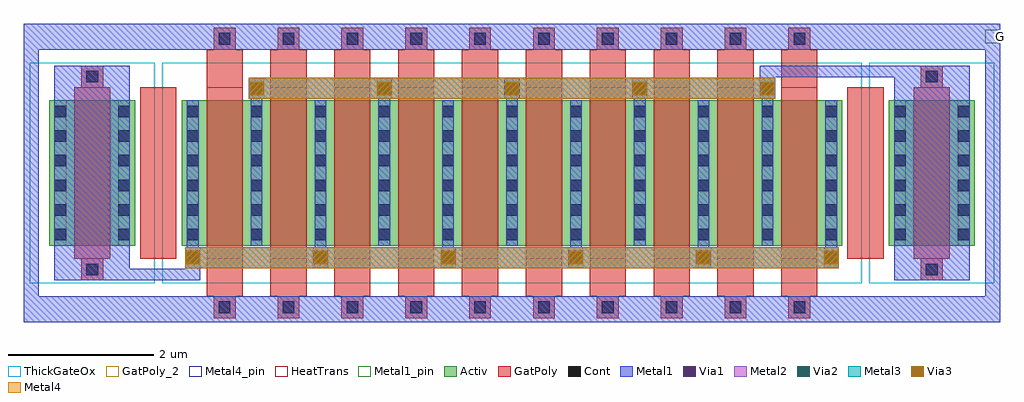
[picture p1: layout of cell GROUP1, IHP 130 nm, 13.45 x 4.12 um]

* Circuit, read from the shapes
.subckt GROUP1 G
XM1 nmosHV_priv1_0/D nmosHV_priv1_0/D nmosHV_priv1_0/D VSUBS sg13_hv_nmos w=2u l=0.5u
XM2 nmosHV_priv1_0/S G nmosHV_priv1_0/D VSUBS sg13_hv_nmos w=2u l=0.5u m=10
XM3 nmosHV_priv1_0/S nmosHV_priv1_0/S nmosHV_priv1_0/S VSUBS sg13_hv_nmos w=2u l=0.5u
.ends

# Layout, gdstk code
import gdstk
lib = gdstk.Library(unit=1e-6, precision=1e-09)
def R(c, l, rs):  # rectangles x0, y0, x1, y1
    for r in rs: c.add(gdstk.rectangle(r[:2], r[2:], *l))
def A(c, l, x, y, w, h, nx, ny, dx, dy):  # array of equal rectangles
    R(c, l, [(x+i*dx, y+j*dy, x+i*dx+w, y+j*dy+h) for i in range(nx) for j in range(ny)])
Activ = (1, 0)
GatPoly = (5, 0)
GatPoly_2 = (5, 2)
Cont = (6, 0)
Metal1 = (8, 0)
Metal1_pin = (8, 2)
Metal2 = (10, 0)
Via1 = (19, 0)
Via2 = (29, 0)
Metal3 = (30, 0)
ThickGateOx = (44, 0)
Via3 = (49, 0)
Metal4 = (50, 0)
Metal4_pin = (50, 2)
HeatTrans = (51, 0)

nmoshv_priv1 = lib.new_cell('nmosHV_priv1')
A(nmoshv_priv1, Activ, 0, 0, 0.3, 0.3, 11, 1, 0.88, 0)
R(nmoshv_priv1, Activ, [(0,0,9.1,2)])
A(nmoshv_priv1, GatPoly, 0.44, -1, 0.3, 0.3, 10, 2, 0.88, 3.7)
A(nmoshv_priv1, GatPoly, 0.34, -0.7, 0.5, 0.52, 10, 2, 0.88, 2.88)
A(nmoshv_priv1, GatPoly, 0.34, -0.18, 0.5, 2.36, 10, 1, 0.88, 0)
R(nmoshv_priv1, GatPoly_2, [(0.34,-0.18,0.84,2.18)])
A(nmoshv_priv1, Cont, 0.51, -0.93, 0.16, 0.16, 10, 2, 0.88, 3.7)
A(nmoshv_priv1, Cont, 0.07, 0.07, 0.16, 0.16, 11, 6, 0.88, 0.34)
A(nmoshv_priv1, Metal1, 0.455, -1.06, 0.27, 0.36, 10, 2, 0.88, 3.76)
A(nmoshv_priv1, Metal1, 0.045, -0.31, 0.21, 0.29, 6, 1, 1.76, 0)
A(nmoshv_priv1, Metal1, 0.07, -0.035, 0.16, 0.05, 6, 1, 1.76, 0)
A(nmoshv_priv1, Metal1, 0.07, 0, 0.16, 2, 11, 1, 0.88, 0)
A(nmoshv_priv1, Metal1, 0.95, 1.985, 0.16, 0.05, 5, 1, 1.76, 0)
A(nmoshv_priv1, Metal1, 0.925, 2.02, 0.21, 0.29, 5, 1, 1.76, 0)
R(nmoshv_priv1, Metal1_pin, [(0.07,0,0.23,2), (0.95,0,1.11,2)])
A(nmoshv_priv1, Metal2, 0.05, -0.31, 0.2, 0.29, 6, 1, 1.76, 0)
A(nmoshv_priv1, Metal2, 0.93, 2.02, 0.2, 0.29, 5, 1, 1.76, 0)
R(nmoshv_priv1, Metal2, [(0.05,-0.31,9.05,-0.02), (0.93,2.02,8.17,2.31)])
A(nmoshv_priv1, Via1, 0.055, -0.26, 0.19, 0.19, 6, 1, 1.76, 0)
A(nmoshv_priv1, Via1, 0.935, 2.07, 0.19, 0.19, 5, 1, 1.76, 0)
A(nmoshv_priv1, Via2, 0.055, -0.26, 0.19, 0.19, 6, 1, 1.76, 0)
A(nmoshv_priv1, Via2, 0.935, 2.07, 0.19, 0.19, 5, 1, 1.76, 0)
A(nmoshv_priv1, Metal3, 0.05, -0.31, 0.2, 0.29, 6, 1, 1.76, 0)
A(nmoshv_priv1, Metal3, 0.93, 2.02, 0.2, 0.29, 5, 1, 1.76, 0)
R(nmoshv_priv1, Metal3, [(0.05,-0.31,9.05,-0.02), (0.93,2.02,8.17,2.31)])
R(nmoshv_priv1, ThickGateOx, [(-0.27,-0.52,9.37,2.52)])
A(nmoshv_priv1, Via3, 0.055, -0.26, 0.19, 0.19, 6, 1, 1.76, 0)
A(nmoshv_priv1, Via3, 0.935, 2.07, 0.19, 0.19, 5, 1, 1.76, 0)
A(nmoshv_priv1, Metal4, 0.05, -0.31, 0.2, 0.29, 6, 1, 1.76, 0)
A(nmoshv_priv1, Metal4, 0.93, 2.02, 0.2, 0.29, 5, 1, 1.76, 0)
R(nmoshv_priv1, Metal4, [(0.05,-0.31,9.05,-0.02), (0.93,2.02,8.17,2.31)])
R(nmoshv_priv1, Metal4_pin, [(8.855,-0.26,9.045,-0.07), (7.975,2.07,8.165,2.26)])
A(nmoshv_priv1, HeatTrans, 0.34, -0.18, 0.5, 2.36, 10, 1, 0.88, 0)
nmoshv_priv1.add(gdstk.Label('nmosHV', (0.59,1), layer=63, texttype=0))
nmoshv_priv1.add(gdstk.Label('nmosHV', (0.59,1), layer=51, texttype=0))
nmoshv_priv1.add(gdstk.Label('nmosHV', (1.47,1), layer=51, texttype=0))
nmoshv_priv1.add(gdstk.Label('nmosHV', (2.35,1), layer=51, texttype=0))
nmoshv_priv1.add(gdstk.Label('nmosHV', (3.23,1), layer=51, texttype=0))
nmoshv_priv1.add(gdstk.Label('nmosHV', (4.11,1), layer=51, texttype=0))
nmoshv_priv1.add(gdstk.Label('nmosHV', (4.99,1), layer=51, texttype=0))
nmoshv_priv1.add(gdstk.Label('nmosHV', (5.87,1), layer=51, texttype=0))
nmoshv_priv1.add(gdstk.Label('nmosHV', (6.75,1), layer=51, texttype=0))
nmoshv_priv1.add(gdstk.Label('nmosHV', (7.63,1), layer=51, texttype=0))
nmoshv_priv1.add(gdstk.Label('nmosHV', (8.51,1), layer=51, texttype=0))
nmoshv_priv1.add(gdstk.Label('S', (8.07,2.165), layer=50, texttype=0))
nmoshv_priv1.add(gdstk.Label('D', (8.95,-0.165), layer=50, texttype=0))

nmoshv_1_priv1 = lib.new_cell('nmosHV$1_priv1')
R(nmoshv_1_priv1, Activ, [(0,0,0.3,0.3), (0,0,1.18,2), (0.88,0,1.18,0.3)])
R(nmoshv_1_priv1, GatPoly, [(0.44,-0.48,0.74,-0.18), (0.34,-0.18,0.84,2.18), (0.44,2.18,0.74,2.48)])
R(nmoshv_1_priv1, GatPoly_2, [(0.34,-0.18,0.84,2.18)])
A(nmoshv_1_priv1, Cont, 0.07, 0.07, 0.16, 0.16, 1, 6, 0, 0.34)
A(nmoshv_1_priv1, Cont, 0.95, 0.07, 0.16, 0.16, 1, 6, 0, 0.34)
R(nmoshv_1_priv1, Cont, [(0.51,-0.41,0.67,-0.25), (0.51,2.25,0.67,2.41)])
R(nmoshv_1_priv1, Metal1, [(0.07,-0.48,1.11,2.48), (0.07,0,0.23,2), (0.95,0,1.11,2)])
R(nmoshv_1_priv1, Metal1_pin, [(0.07,0,0.23,2), (0.95,0,1.11,2)])
R(nmoshv_1_priv1, ThickGateOx, [(-0.27,-0.52,1.45,2.52)])
R(nmoshv_1_priv1, HeatTrans, [(0.34,-0.18,0.84,2.18)])
nmoshv_1_priv1.add(gdstk.Label('nmosHV', (0.59,1), layer=63, texttype=0))
nmoshv_1_priv1.add(gdstk.Label('nmosHV', (0.59,1), layer=51, texttype=0))

nmoshv_1_priv2 = lib.new_cell('nmosHV$1_priv2')
R(nmoshv_1_priv2, Activ, [(0,0,0.3,0.3), (0,0,1.18,2), (0.88,0,1.18,0.3)])
R(nmoshv_1_priv2, GatPoly, [(0.44,-0.48,0.74,-0.18), (0.34,-0.18,0.84,2.18), (0.44,2.18,0.74,2.48)])
R(nmoshv_1_priv2, GatPoly_2, [(0.34,-0.18,0.84,2.18)])
A(nmoshv_1_priv2, Cont, 0.07, 0.07, 0.16, 0.16, 1, 6, 0, 0.34)
A(nmoshv_1_priv2, Cont, 0.95, 0.07, 0.16, 0.16, 1, 6, 0, 0.34)
R(nmoshv_1_priv2, Cont, [(0.51,-0.41,0.67,-0.25), (0.51,2.25,0.67,2.41)])
R(nmoshv_1_priv2, Metal1, [(0.07,-0.48,1.11,2.48), (0.07,0,0.23,2), (0.95,0,1.11,2)])
R(nmoshv_1_priv2, Metal1_pin, [(0.07,0,0.23,2), (0.95,0,1.11,2)])
R(nmoshv_1_priv2, ThickGateOx, [(-0.27,-0.52,1.45,2.52)])
R(nmoshv_1_priv2, HeatTrans, [(0.34,-0.18,0.84,2.18)])
nmoshv_1_priv2.add(gdstk.Label('nmosHV', (0.59,1), layer=63, texttype=0))
nmoshv_1_priv2.add(gdstk.Label('nmosHV', (0.59,1), layer=51, texttype=0))

group1 = lib.new_cell('GROUP1')
R(group1, GatPoly, [(81.985,0.34,82.485,2.7), (91.73,0.34,92.23,2.7)])
R(group1, Metal1, [(80.385,-0.54,93.835,-0.18), (80.385,-0.54,80.585,3.58), (93.635,-0.54,93.835,3.58), (81.845,0.04,82.815,0.2), (82.605,0.2,82.815,0.5), (90.525,2.54,90.735,2.84), (90.525,2.84,92.375,3), (80.385,3.22,93.835,3.58)])
R(group1, Metal1_pin, [(93.635,3.305,93.835,3.495)])
group1.add(gdstk.Reference(nmoshv_priv1, (82.56,0.52)))
group1.add(gdstk.Reference(nmoshv_1_priv1, (80.735,0.52)))
group1.add(gdstk.Reference(nmoshv_1_priv2, (92.305,0.52)))
group1.add(gdstk.Label('G', (93.835,3.4), layer=8, texttype=0))

lib.write_gds('GROUP1.gds')
